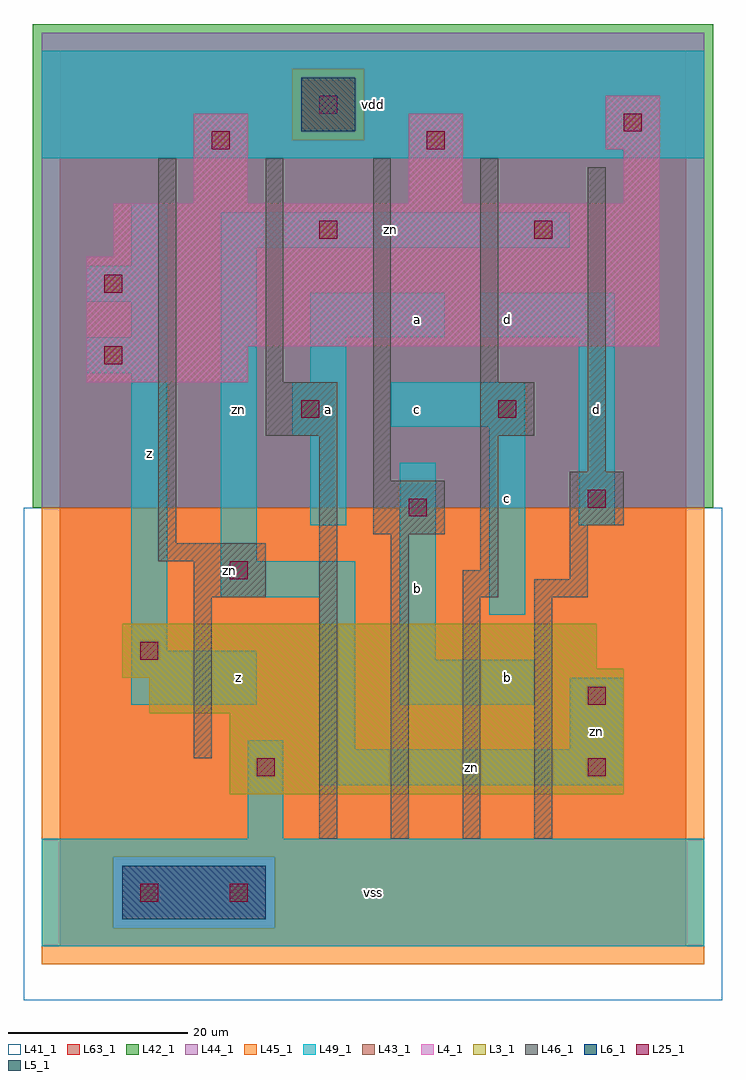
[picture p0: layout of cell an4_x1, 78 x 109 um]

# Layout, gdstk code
import gdstk
lib = gdstk.Library(unit=1e-6, precision=1e-09)
def R(c, l, rs):  # rectangles x0, y0, x1, y1
    for r in rs: c.add(gdstk.rectangle(r[:2], r[2:], *l))
L3_1 = (3, 1)
L4_1 = (4, 1)
L5_1 = (5, 1)
L6_1 = (6, 1)
L25_1 = (25, 1)
L41_1 = (41, 1)
L42_1 = (42, 1)
L43_1 = (43, 1)
L44_1 = (44, 1)
L45_1 = (45, 1)
L46_1 = (46, 1)
L49_1 = (49, 1)
L63_1 = (63, 1)

an4_x1 = lib.new_cell('an4_x1')
R(an4_x1, L3_1, [(19,17,63,26), (10,26,63,30), (7,30,63,31), (7,31,60,36)])
R(an4_x1, L4_1, [(3,63,21,67), (3,67,67,77), (6,77,67,83), (15,83,21,93), (39,83,45,93), (63,83,67,89), (61,89,67,95)])
R(an4_x1, L5_1, [(27,91,33,97)])
R(an4_x1, L6_1, [(7,3,23,9)])
R(an4_x1, L25_1, [(9,5,11,7), (19,5,21,7), (22,19,24,21), (59,19,61,21), (59,27,61,29), (9,32,11,34), (19,41,21,43), (39,48,41,50), (59,49,61,51), (27,59,29,61), (49,59,51,61), (5,65,7,67), (5,73,7,75), (29,79,31,81), (53,79,55,81), (17,89,19,91), (41,89,43,91), (63,91,65,93), (29,93,31,95)])
R(an4_x1, L41_1, [(-4,-6,74,49), (-3,-3,73,49)])
R(an4_x1, L42_1, [(-3,49,73,103)])
R(an4_x1, L43_1, [(7,3,23,9), (19,17,63,26), (10,26,63,30), (7,30,63,31), (7,31,60,36), (3,63,21,67), (3,67,67,77), (6,77,67,83), (15,83,21,93), (39,83,45,93), (63,83,67,89), (61,89,67,95), (27,91,33,97)])
R(an4_x1, L44_1, [(6,2,24,10), (-2,49,72,90), (-2,90,26,98), (34,90,72,98), (-2,98,72,102)])
R(an4_x1, L45_1, [(-2,-2,72,2), (-2,2,6,10), (24,2,72,10), (-2,10,72,49), (26,90,34,98)])
R(an4_x1, L46_1, [(29,12,31,57), (37,12,39,46), (45,12,47,39), (53,12,55,39), (15,21,17,39), (15,39,23,43), (45,39,49,42), (53,39,59,41), (57,41,59,47), (47,42,49,57), (11,43,23,45), (11,45,13,88), (35,46,43,52), (57,47,63,53), (35,52,37,88), (59,53,61,87), (23,57,31,63), (47,57,53,63), (23,63,25,88), (47,63,49,88)])
R(an4_x1, L49_1, [(-2,0,72,12), (21,12,25,23), (29,18,63,22), (29,22,33,39), (57,22,63,30), (8,27,22,33), (38,27,53,32), (38,32,42,54), (8,33,12,64), (48,37,52,58), (18,39,33,43), (18,43,22,78), (28,47,32,57), (58,47,62,68), (26,57,32,63), (37,58,52,63), (28,63,32,68), (3,64,12,68), (8,68,12,72), (28,68,43,73), (47,68,62,73), (3,72,12,76), (8,76,12,83), (18,78,57,82), (-2,88,72,100)])
R(an4_x1, L63_1, [(0,0,70,100)])
an4_x1.add(gdstk.Label('zn', (19,42), layer=49, texttype=1))
an4_x1.add(gdstk.Label('z', (20,30), layer=49, texttype=1))
an4_x1.add(gdstk.Label('z', (20,30), layer=49, texttype=1))
an4_x1.add(gdstk.Label('z', (10,55), layer=49, texttype=1))
an4_x1.add(gdstk.Label('z', (10,55), layer=49, texttype=1))
an4_x1.add(gdstk.Label('zn', (20,60), layer=49, texttype=1))
an4_x1.add(gdstk.Label('vss', (35,6), layer=49, texttype=1))
an4_x1.add(gdstk.Label('vss', (35,6), layer=49, texttype=1))
an4_x1.add(gdstk.Label('a', (30,60), layer=49, texttype=1))
an4_x1.add(gdstk.Label('a', (30,60), layer=49, texttype=1))
an4_x1.add(gdstk.Label('vdd', (35,94), layer=49, texttype=1))
an4_x1.add(gdstk.Label('vdd', (35,94), layer=49, texttype=1))
an4_x1.add(gdstk.Label('b', (50,30), layer=49, texttype=1))
an4_x1.add(gdstk.Label('b', (50,30), layer=49, texttype=1))
an4_x1.add(gdstk.Label('b', (40,40), layer=49, texttype=1))
an4_x1.add(gdstk.Label('b', (40,40), layer=49, texttype=1))
an4_x1.add(gdstk.Label('c', (50,50), layer=49, texttype=1))
an4_x1.add(gdstk.Label('c', (50,50), layer=49, texttype=1))
an4_x1.add(gdstk.Label('c', (40,60), layer=49, texttype=1))
an4_x1.add(gdstk.Label('c', (40,60), layer=49, texttype=1))
an4_x1.add(gdstk.Label('a', (40,70), layer=49, texttype=1))
an4_x1.add(gdstk.Label('a', (40,70), layer=49, texttype=1))
an4_x1.add(gdstk.Label('d', (50,70), layer=49, texttype=1))
an4_x1.add(gdstk.Label('d', (50,70), layer=49, texttype=1))
an4_x1.add(gdstk.Label('zn', (60,24), layer=49, texttype=1))
an4_x1.add(gdstk.Label('zn', (46,20), layer=49, texttype=1))
an4_x1.add(gdstk.Label('d', (60,60), layer=49, texttype=1))
an4_x1.add(gdstk.Label('d', (60,60), layer=49, texttype=1))
an4_x1.add(gdstk.Label('zn', (37,80), layer=49, texttype=1))

lib.write_gds('an4_x1.gds')
